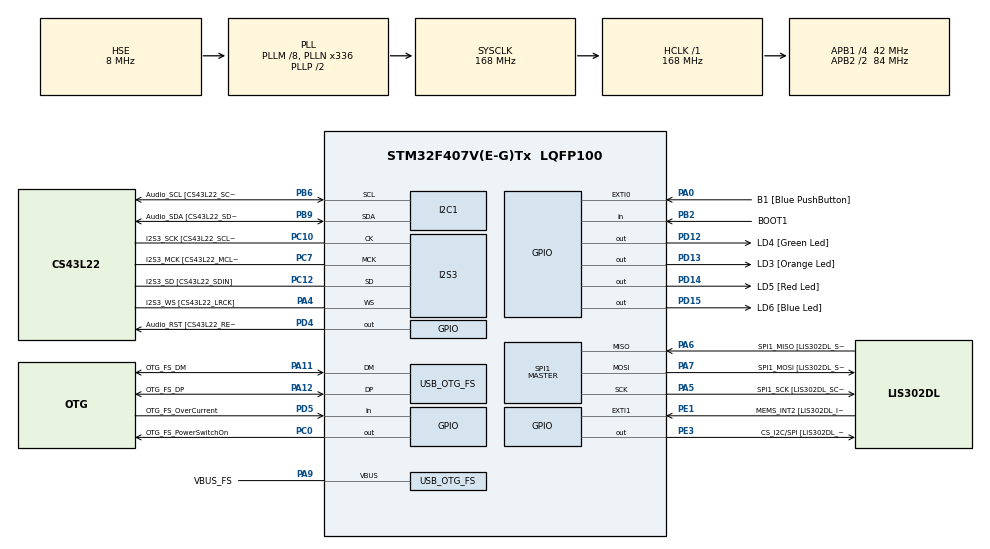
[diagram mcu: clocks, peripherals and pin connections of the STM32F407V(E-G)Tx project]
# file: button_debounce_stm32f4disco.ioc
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I2S3.AudioFreq-Half_Duplex_Master=I2S_AUDIOFREQ_96K
I2S3.ErrorAudioFreq=-2.34 %
I2S3.ErrorAudioFreq-Half_Duplex_Master=0.8 %
I2S3.FullDuplexMode=I2S_FULLDUPLEXMODE_DISABLE
I2S3.Instance=SPI$Index
I2S3.RealAudioFreq=93.75 KHz
I2S3.RealAudioFreq-Half_Duplex_Master=96.774 KHz
I2S3.VirtualMode=I2S_MODE_MASTER
Mcu.Family=STM32F4
Mcu.Name=STM32F407V(E-G)Tx
Mcu.Package=LQFP100
NVIC.EXTI0_IRQn=true\:15\:0\:true\:false\:true\:true\:true
NVIC.OTG_FS_IRQn=true\:0\:0\:false\:false\:true\:true\:true
NVIC.PriorityGroup=NVIC_PRIORITYGROUP_4
PA0-WKUP.GPIO_Label=B1 [Blue PushButton]
PA0-WKUP.GPIO_ModeDefaultEXTI=GPIO_MODE_IT_RISING_FALLING
PA0-WKUP.GPIO_PuPd=GPIO_NOPULL
PA0-WKUP.Signal=GPXTI0
PA10.GPIO_Label=OTG_FS_ID
PA10.GPIO_Mode=GPIO_MODE_AF_PP
PA10.GPIO_PuPd=GPIO_NOPULL
PA10.GPIO_Speed=GPIO_SPEED_FREQ_LOW
PA10.Signal=USB_OTG_FS_ID
PA11.GPIO_Label=OTG_FS_DM
PA11.GPIO_Mode=GPIO_MODE_AF_PP
PA11.GPIO_PuPd=GPIO_NOPULL
PA11.GPIO_Speed=GPIO_SPEED_FREQ_LOW
PA11.Mode=Host_Only
PA11.Signal=USB_OTG_FS_DM
PA12.GPIO_Label=OTG_FS_DP
PA12.GPIO_Mode=GPIO_MODE_AF_PP
PA12.GPIO_PuPd=GPIO_NOPULL
PA12.GPIO_Speed=GPIO_SPEED_FREQ_LOW
PA12.Mode=Host_Only
PA12.Signal=USB_OTG_FS_DP
PA13.GPIO_Label=SWDIO
PA13.Mode=Serial_Wire
PA13.Signal=SYS_JTMS-SWDIO
PA14.GPIO_Label=SWCLK
PA14.Mode=Serial_Wire
PA14.Signal=SYS_JTCK-SWCLK
PA4.GPIO_Label=I2S3_WS [CS43L22_LRCK]
PA4.GPIO_Mode=GPIO_MODE_AF_PP
PA4.GPIO_PuPd=GPIO_NOPULL
PA4.GPIO_Speed=GPIO_SPEED_FREQ_LOW
PA4.Mode=Half_Duplex_Master
PA4.Signal=I2S3_WS
PA5.GPIO_Label=SPI1_SCK [LIS302DL_SCL/SPC]
PA5.GPIO_Mode=GPIO_MODE_AF_PP
PA5.GPIO_PuPd=GPIO_NOPULL
PA5.GPIO_Speed=GPIO_SPEED_FREQ_LOW
PA5.Mode=Full_Duplex_Master
PA5.Signal=SPI1_SCK
PA6.GPIO_Label=SPI1_MISO [LIS302DL_SDO]
PA6.GPIO_Mode=GPIO_MODE_AF_PP
PA6.GPIO_PuPd=GPIO_NOPULL
PA6.GPIO_Speed=GPIO_SPEED_FREQ_LOW
PA6.Mode=Full_Duplex_Master
PA6.Signal=SPI1_MISO
PA7.GPIO_Label=SPI1_MOSI [LIS302DL_SDA/SDI/SDO]
PA7.GPIO_Mode=GPIO_MODE_AF_PP
PA7.GPIO_PuPd=GPIO_NOPULL
PA7.GPIO_Speed=GPIO_SPEED_FREQ_LOW
PA7.Mode=Full_Duplex_Master
PA7.Signal=SPI1_MOSI
PA9.GPIO_Label=VBUS_FS
PA9.GPIO_Mode=GPIO_MODE_INPUT
PA9.GPIO_PuPd=GPIO_NOPULL
PA9.Mode=Activate_VBUS
PA9.Signal=USB_OTG_FS_VBUS
PB10.GPIO_Label=CLK_IN [MP45DT02_CLK]
PB10.GPIO_Mode=GPIO_MODE_AF_PP
PB10.GPIO_PuPd=GPIO_NOPULL
PB10.GPIO_Speed=GPIO_SPEED_FREQ_LOW
PB10.Signal=I2S2_CK
PB2.GPIO_Label=BOOT1
PB2.GPIO_Mode=GPIO_MODE_INPUT
PB2.GPIO_PuPd=GPIO_NOPULL
PB2.Signal=GPIO_Input
PB3.GPIO_Label=SWO
PB3.Signal=SYS_JTDO-SWO
PB6.GPIO_Label=Audio_SCL [CS43L22_SCL]
PB6.GPIO_Mode=GPIO_MODE_AF_OD
PB6.GPIO_Pu=GPIO_PULLUP
PB6.GPIO_PuPd=GPIO_NOPULL
PB6.GPIO_Speed=GPIO_SPEED_FREQ_LOW
PB6.Mode=I2C
PB6.Signal=I2C1_SCL
PB9.GPIO_Label=Audio_SDA [CS43L22_SDA]
PB9.GPIO_Mode=GPIO_MODE_AF_OD
PB9.GPIO_Pu=GPIO_PULLUP
PB9.GPIO_PuPd=GPIO_NOPULL
PB9.GPIO_Speed=GPIO_SPEED_FREQ_LOW
PB9.Mode=I2C
PB9.Signal=I2C1_SDA
PC0.GPIO_Label=OTG_FS_PowerSwitchOn
PC0.GPIO_PuPd=GPIO_NOPULL
PC0.GPIO_Speed=GPIO_SPEED_FREQ_LOW
PC0.PinState=GPIO_PIN_SET
PC0.Signal=GPIO_Output
PC10.GPIO_Label=I2S3_SCK [CS43L22_SCLK]
PC10.GPIO_Mode=GPIO_MODE_AF_PP
PC10.GPIO_PuPd=GPIO_NOPULL
PC10.GPIO_Speed=GPIO_SPEED_FREQ_LOW
PC10.Mode=Half_Duplex_Master
PC10.Signal=I2S3_CK
PC12.GPIO_Label=I2S3_SD [CS43L22_SDIN]
PC12.GPIO_Mode=GPIO_MODE_AF_PP
PC12.GPIO_PuPd=GPIO_NOPULL
PC12.GPIO_Speed=GPIO_SPEED_FREQ_LOW
PC12.Mode=Half_Duplex_Master
PC12.Signal=I2S3_SD
PC14-OSC32_IN.GPIO_Label=PC14-OSC32_IN
PC14-OSC32_IN.Mode=LSE-External-Oscillator
PC14-OSC32_IN.Signal=RCC_OSC32_IN
PC15-OSC32_OUT.GPIO_Label=PC15-OSC32_OUT
PC15-OSC32_OUT.Mode=LSE-External-Oscillator
PC15-OSC32_OUT.Signal=RCC_OSC32_OUT
PC3.GPIO_Label=PDM_OUT [MP45DT02_DOUT]
PC3.GPIO_Mode=GPIO_MODE_AF_PP
PC3.GPIO_PuPd=GPIO_NOPULL
PC3.GPIO_Speed=GPIO_SPEED_FREQ_LOW
PC3.Signal=I2S2_SD
PC7.GPIO_Label=I2S3_MCK [CS43L22_MCLK]
PC7.GPIO_Mode=GPIO_MODE_AF_PP
PC7.GPIO_PuPd=GPIO_NOPULL
PC7.GPIO_Speed=GPIO_SPEED_FREQ_LOW
PC7.Mode=Master_Clock_Activated
PC7.Signal=I2S3_MCK
PD12.GPIO_Label=LD4 [Green Led]
PD12.GPIO_PuPd=GPIO_NOPULL
PD12.GPIO_Speed=GPIO_SPEED_FREQ_LOW
PD12.Signal=GPIO_Output
PD13.GPIO_Label=LD3 [Orange Led]
PD13.GPIO_PuPd=GPIO_NOPULL
PD13.GPIO_Speed=GPIO_SPEED_FREQ_LOW
PD13.Signal=GPIO_Output
PD14.GPIO_Label=LD5 [Red Led]
PD14.GPIO_PuPd=GPIO_NOPULL
PD14.GPIO_Speed=GPIO_SPEED_FREQ_LOW
PD14.Signal=GPIO_Output
PD15.GPIO_Label=LD6 [Blue Led]
PD15.GPIO_PuPd=GPIO_NOPULL
PD15.GPIO_Speed=GPIO_SPEED_FREQ_LOW
PD15.Signal=GPIO_Output
PD4.GPIO_Label=Audio_RST [CS43L22_RESET]
PD4.GPIO_PuPd=GPIO_NOPULL
PD4.GPIO_Speed=GPIO_SPEED_FREQ_LOW
PD4.Signal=GPIO_Output
PD5.GPIO_Label=OTG_FS_OverCurrent
PD5.GPIO_Mode=GPIO_MODE_INPUT
PD5.GPIO_PuPd=GPIO_NOPULL
PD5.Signal=GPIO_Input
PE1.GPIO_Label=MEMS_INT2 [LIS302DL_INT2]
PE1.GPIO_ModeDefaultEXTI=GPIO_MODE_EVT_RISING
PE1.GPIO_PuPd=GPIO_NOPULL
PE1.Signal=GPXTI1
PE3.GPIO_Label=CS_I2C/SPI [LIS302DL_CS_I2C/SPI]
PE3.GPIO_PuPd=GPIO_NOPULL
PE3.GPIO_Speed=GPIO_SPEED_FREQ_LOW
PE3.Signal=GPIO_Output
PH0-OSC_IN.GPIO_Label=PH0-OSC_IN
PH0-OSC_IN.Mode=HSE-External-Oscillator
PH0-OSC_IN.Signal=RCC_OSC_IN
PH1-OSC_OUT.GPIO_Label=PH1-OSC_OUT
PH1-OSC_OUT.Mode=HSE-External-Oscillator
PH1-OSC_OUT.Signal=RCC_OSC_OUT
ProjectManager.HeapSize=0x200
ProjectManager.StackSize=0x400
ProjectManager.TargetToolchain=STM32CubeIDE
RCC.48MHZClocksFreq_Value=48000000
RCC.AHBFreq_Value=168000000
RCC.APB1CLKDivider=RCC_HCLK_DIV4
RCC.APB1Freq_Value=42000000
RCC.APB1TimFreq_Value=84000000
RCC.APB2CLKDivider=RCC_HCLK_DIV2
RCC.APB2Freq_Value=84000000
RCC.APB2TimFreq_Value=168000000
RCC.CortexFreq_Value=168000000
RCC.HCLKFreq_Value=168000000
RCC.HSE_VALUE=8000000
RCC.HSI_VALUE=16000000
RCC.PLLM=8
RCC.PLLN=336
RCC.PLLQ=7
RCC.SYSCLKFreq_VALUE=168000000
RCC.SYSCLKSource=RCC_SYSCLKSOURCE_PLLCLK
RCC.VCOOutputFreq_Value=336000000
SPI1.BaudRatePrescaler-Full_Duplex_Master=SPI_BAUDRATEPRESCALER_2
SPI1.CalculateBaudRate-Full_Duplex_Master=42.0 MBits/s
SPI1.Direction=SPI_DIRECTION_2LINES
SPI1.Mode=SPI_MODE_MASTER
SPI1.Mode-Full_Duplex_Master=SPI_MODE_MASTER
SPI1.VirtualType=VM_MASTER
USB_HOST.BSP.number=1
USB_HOST.USBH_HandleTypeDef-CDC_FS=hUsbHostFS
USB_HOST.VirtualModeFS=Cdc
USB_HOST0.BSP.STBoard=false
USB_HOST0.BSP.api=Unknown
USB_HOST0.BSP.i2caddr=0
USB_HOST0.BSP.i2creg=0
USB_HOST0.BSP.instance=PC0
USB_HOST0.BSP.ip=GPIO
USB_HOST0.BSP.mode=Output
USB_HOST0.BSP.name=Drive_VBUS_FS
USB_HOST0.BSP.solution=PC0
USB_OTG_FS.VirtualMode=Host_Only
USB_OTG_FS.phy_itface=HCD_PHY_EMBEDDED
VP_USB_HOST_VS_USB_HOST_CDC_FS.Mode=CDC_FS
board=STM32F407G-DISC1

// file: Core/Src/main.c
/* USER CODE BEGIN Header */
/**
  ******************************************************************************
  * @file           : main.c
  * @brief          : Main program body
  ******************************************************************************
  * @attention
  *
  * Copyright (c) 2021 STMicroelectronics.
  * All rights reserved.
  *
  * This software is licensed under terms that can be found in the LICENSE file
  * in the root directory of this software component.
  * If no LICENSE file comes with this software, it is provided AS-IS.
  *
  ******************************************************************************
  */
/* USER CODE END Header */
#include "main.h"
#include "usb_host.h"

/* USER CODE BEGIN Includes */
#include "stm32f4_discovery.h"
#include "systick_timer.h"
#include "button_interrupt.h"
/* USER CODE END Includes */

I2C_HandleTypeDef hi2c1;

I2S_HandleTypeDef hi2s3;

SPI_HandleTypeDef hspi1;

/* USER CODE BEGIN PV */
SYSTick_Timer_t  timer_1 , timer_2;
/* USER CODE END PV */

void SystemClock_Config(void);
static void MX_GPIO_Init(void);
static void MX_I2C1_Init(void);
static void MX_I2S3_Init(void);
static void MX_SPI1_Init(void);
void MX_USB_HOST_Process(void);

int main(void)
{

  /* MCU Configuration--------------------------------------------------------*/

  /* Reset of all peripherals, Initializes the Flash interface and the Systick. */
  HAL_Init();

  /* Configure the system clock */
  SystemClock_Config();

  /* Initialize all configured peripherals */
  MX_GPIO_Init();
  MX_I2C1_Init();
  MX_I2S3_Init();
  MX_SPI1_Init();
  MX_USB_HOST_Init();

  /* Infinite loop */
  /* USER CODE BEGIN WHILE */
  BSP_LED_Init(LED4);
  BSP_LED_Init(LED3);
  BSP_LED_Init(LED5);
  BSP_LED_Init(LED6);
  // BSP_PB_Init(BUTTON_KEY, BUTTON_MODE_EXTI);
  // let MX_GPIO_Init it to GPIO_MODE_IT_RISING_FALLING
  init_button_state();
  start_systick_timer(&timer_1, 100);
  start_systick_timer(&timer_2, 100);
  while (1)
  {
    if(Timer_Expired == get_systick_timer(&timer_1))
    {
      BSP_LED_Toggle(LED4);
      start_systick_timer(&timer_1, 500);
    }
    if(Timer_Expired == get_systick_timer(&timer_2))
    {
      BSP_LED_Toggle(LED5);
      start_systick_timer(&timer_2, 700);
    }
    if(Timer_Expired == get_systick_timer(&button_debounce_timer))
    {
      user_button_changed = 0;
      button_debouce_followup_process();
    }

    if(user_button_state)
    { // BUTTON_KEY pressed
      BSP_LED_On(LED6);
    }
    else
    { // BUTTON_KEY released
      BSP_LED_Off(LED6);
    }
    /* USER CODE END WHILE */
    MX_USB_HOST_Process();

  }
}

void SystemClock_Config(void)
{
  RCC_OscInitTypeDef RCC_OscInitStruct = {0};
  RCC_ClkInitTypeDef RCC_ClkInitStruct = {0};

  /** Configure the main internal regulator output voltage
  */
  __HAL_RCC_PWR_CLK_ENABLE();
  __HAL_PWR_VOLTAGESCALING_CONFIG(PWR_REGULATOR_VOLTAGE_SCALE1);
  /** Initializes the RCC Oscillators according to the specified parameters
  * in the RCC_OscInitTypeDef structure.
  */
  RCC_OscInitStruct.OscillatorType = RCC_OSCILLATORTYPE_HSE;
  RCC_OscInitStruct.HSEState = RCC_HSE_ON;
  RCC_OscInitStruct.PLL.PLLState = RCC_PLL_ON;
  RCC_OscInitStruct.PLL.PLLSource = RCC_PLLSOURCE_HSE;
  RCC_OscInitStruct.PLL.PLLM = 8;
  RCC_OscInitStruct.PLL.PLLN = 336;
  RCC_OscInitStruct.PLL.PLLP = RCC_PLLP_DIV2;
  RCC_OscInitStruct.PLL.PLLQ = 7;
  if (HAL_RCC_OscConfig(&RCC_OscInitStruct) != HAL_OK)
  {
    Error_Handler();
  }
  /** Initializes the CPU, AHB and APB buses clocks
  */
  RCC_ClkInitStruct.ClockType = RCC_CLOCKTYPE_HCLK|RCC_CLOCKTYPE_SYSCLK
                              |RCC_CLOCKTYPE_PCLK1|RCC_CLOCKTYPE_PCLK2;
  RCC_ClkInitStruct.SYSCLKSource = RCC_SYSCLKSOURCE_PLLCLK;
  RCC_ClkInitStruct.AHBCLKDivider = RCC_SYSCLK_DIV1;
  RCC_ClkInitStruct.APB1CLKDivider = RCC_HCLK_DIV4;
  RCC_ClkInitStruct.APB2CLKDivider = RCC_HCLK_DIV2;

  if (HAL_RCC_ClockConfig(&RCC_ClkInitStruct, FLASH_LATENCY_5) != HAL_OK)
  {
    Error_Handler();
  }
}

static void MX_I2C1_Init(void)
{

  hi2c1.Instance = I2C1;
  hi2c1.Init.ClockSpeed = 100000;
  hi2c1.Init.DutyCycle = I2C_DUTYCYCLE_2;
  hi2c1.Init.OwnAddress1 = 0;
  hi2c1.Init.AddressingMode = I2C_ADDRESSINGMODE_7BIT;
  hi2c1.Init.DualAddressMode = I2C_DUALADDRESS_DISABLE;
  hi2c1.Init.OwnAddress2 = 0;
  hi2c1.Init.GeneralCallMode = I2C_GENERALCALL_DISABLE;
  hi2c1.Init.NoStretchMode = I2C_NOSTRETCH_DISABLE;
  if (HAL_I2C_Init(&hi2c1) != HAL_OK)
  {
    Error_Handler();
  }

}

static void MX_I2S3_Init(void)
{

  hi2s3.Instance = SPI3;
  hi2s3.Init.Mode = I2S_MODE_MASTER_TX;
  hi2s3.Init.Standard = I2S_STANDARD_PHILIPS;
  hi2s3.Init.DataFormat = I2S_DATAFORMAT_16B;
  hi2s3.Init.MCLKOutput = I2S_MCLKOUTPUT_ENABLE;
  hi2s3.Init.AudioFreq = I2S_AUDIOFREQ_96K;
  hi2s3.Init.CPOL = I2S_CPOL_LOW;
  hi2s3.Init.ClockSource = I2S_CLOCK_PLL;
  hi2s3.Init.FullDuplexMode = I2S_FULLDUPLEXMODE_DISABLE;
  if (HAL_I2S_Init(&hi2s3) != HAL_OK)
  {
    Error_Handler();
  }

}

static void MX_SPI1_Init(void)
{

  /* SPI1 parameter configuration*/
  hspi1.Instance = SPI1;
  hspi1.Init.Mode = SPI_MODE_MASTER;
  hspi1.Init.Direction = SPI_DIRECTION_2LINES;
  hspi1.Init.DataSize = SPI_DATASIZE_8BIT;
  hspi1.Init.CLKPolarity = SPI_POLARITY_LOW;
  hspi1.Init.CLKPhase = SPI_PHASE_1EDGE;
  hspi1.Init.NSS = SPI_NSS_SOFT;
  hspi1.Init.BaudRatePrescaler = SPI_BAUDRATEPRESCALER_2;
  hspi1.Init.FirstBit = SPI_FIRSTBIT_MSB;
  hspi1.Init.TIMode = SPI_TIMODE_DISABLE;
  hspi1.Init.CRCCalculation = SPI_CRCCALCULATION_DISABLE;
  hspi1.Init.CRCPolynomial = 10;
  if (HAL_SPI_Init(&hspi1) != HAL_OK)
  {
    Error_Handler();
  }

}

static void MX_GPIO_Init(void)
{
  GPIO_InitTypeDef GPIO_InitStruct = {0};

  /* GPIO Ports Clock Enable */
  __HAL_RCC_GPIOE_CLK_ENABLE();
  __HAL_RCC_GPIOC_CLK_ENABLE();
  __HAL_RCC_GPIOH_CLK_ENABLE();
  __HAL_RCC_GPIOA_CLK_ENABLE();
  __HAL_RCC_GPIOB_CLK_ENABLE();
  __HAL_RCC_GPIOD_CLK_ENABLE();

  /*Configure GPIO pin Output Level */
  HAL_GPIO_WritePin(CS_I2C_SPI_GPIO_Port, CS_I2C_SPI_Pin, GPIO_PIN_RESET);

  /*Configure GPIO pin Output Level */
  HAL_GPIO_WritePin(OTG_FS_PowerSwitchOn_GPIO_Port, OTG_FS_PowerSwitchOn_Pin, GPIO_PIN_SET);

  /*Configure GPIO pin Output Level */
  HAL_GPIO_WritePin(GPIOD, LD4_Pin|LD3_Pin|LD5_Pin|LD6_Pin
                          |Audio_RST_Pin, GPIO_PIN_RESET);

  /*Configure GPIO pin : CS_I2C_SPI_Pin */
  GPIO_InitStruct.Pin = CS_I2C_SPI_Pin;
  GPIO_InitStruct.Mode = GPIO_MODE_OUTPUT_PP;
  GPIO_InitStruct.Pull = GPIO_NOPULL;
  GPIO_InitStruct.Speed = GPIO_SPEED_FREQ_LOW;
  HAL_GPIO_Init(CS_I2C_SPI_GPIO_Port, &GPIO_InitStruct);

  /*Configure GPIO pin : OTG_FS_PowerSwitchOn_Pin */
  GPIO_InitStruct.Pin = OTG_FS_PowerSwitchOn_Pin;
  GPIO_InitStruct.Mode = GPIO_MODE_OUTPUT_PP;
  GPIO_InitStruct.Pull = GPIO_NOPULL;
  GPIO_InitStruct.Speed = GPIO_SPEED_FREQ_LOW;
  HAL_GPIO_Init(OTG_FS_PowerSwitchOn_GPIO_Port, &GPIO_InitStruct);

  /*Configure GPIO pin : PDM_OUT_Pin */
  GPIO_InitStruct.Pin = PDM_OUT_Pin;
  GPIO_InitStruct.Mode = GPIO_MODE_AF_PP;
  GPIO_InitStruct.Pull = GPIO_NOPULL;
  GPIO_InitStruct.Speed = GPIO_SPEED_FREQ_LOW;
  GPIO_InitStruct.Alternate = GPIO_AF5_SPI2;
  HAL_GPIO_Init(PDM_OUT_GPIO_Port, &GPIO_InitStruct);

  /*Configure GPIO pin : B1_Pin */
  GPIO_InitStruct.Pin = B1_Pin;
  GPIO_InitStruct.Mode = GPIO_MODE_IT_RISING_FALLING;
  GPIO_InitStruct.Pull = GPIO_NOPULL;
  HAL_GPIO_Init(B1_GPIO_Port, &GPIO_InitStruct);

  /*Configure GPIO pin : BOOT1_Pin */
  GPIO_InitStruct.Pin = BOOT1_Pin;
  GPIO_InitStruct.Mode = GPIO_MODE_INPUT;
  GPIO_InitStruct.Pull = GPIO_NOPULL;
  HAL_GPIO_Init(BOOT1_GPIO_Port, &GPIO_InitStruct);

  /*Configure GPIO pin : CLK_IN_Pin */
  GPIO_InitStruct.Pin = CLK_IN_Pin;
  GPIO_InitStruct.Mode = GPIO_MODE_AF_PP;
  GPIO_InitStruct.Pull = GPIO_NOPULL;
  GPIO_InitStruct.Speed = GPIO_SPEED_FREQ_LOW;
  GPIO_InitStruct.Alternate = GPIO_AF5_SPI2;
  HAL_GPIO_Init(CLK_IN_GPIO_Port, &GPIO_InitStruct);

  /*Configure GPIO pins : LD4_Pin LD3_Pin LD5_Pin LD6_Pin
                           Audio_RST_Pin */
  GPIO_InitStruct.Pin = LD4_Pin|LD3_Pin|LD5_Pin|LD6_Pin
                          |Audio_RST_Pin;
  GPIO_InitStruct.Mode = GPIO_MODE_OUTPUT_PP;
  GPIO_InitStruct.Pull = GPIO_NOPULL;
  GPIO_InitStruct.Speed = GPIO_SPEED_FREQ_LOW;
  HAL_GPIO_Init(GPIOD, &GPIO_InitStruct);

  /*Configure GPIO pin : OTG_FS_OverCurrent_Pin */
  GPIO_InitStruct.Pin = OTG_FS_OverCurrent_Pin;
  GPIO_InitStruct.Mode = GPIO_MODE_INPUT;
  GPIO_InitStruct.Pull = GPIO_NOPULL;
  HAL_GPIO_Init(OTG_FS_OverCurrent_GPIO_Port, &GPIO_InitStruct);

  /*Configure GPIO pin : MEMS_INT2_Pin */
  GPIO_InitStruct.Pin = MEMS_INT2_Pin;
  GPIO_InitStruct.Mode = GPIO_MODE_EVT_RISING;
  GPIO_InitStruct.Pull = GPIO_NOPULL;
  HAL_GPIO_Init(MEMS_INT2_GPIO_Port, &GPIO_InitStruct);

  /* EXTI interrupt init*/
  HAL_NVIC_SetPriority(EXTI0_IRQn, 15, 0);
  HAL_NVIC_EnableIRQ(EXTI0_IRQn);

}

void Error_Handler(void)
{
  __disable_irq();
  while (1)
  {
  }
}
